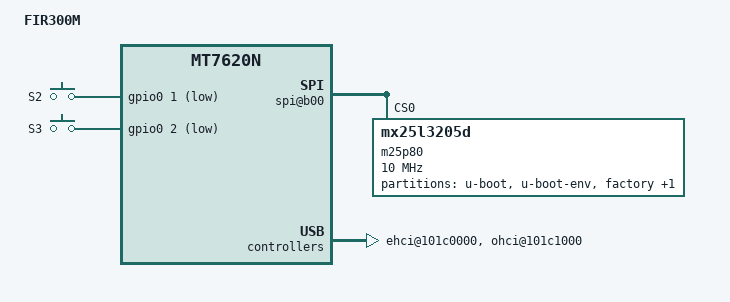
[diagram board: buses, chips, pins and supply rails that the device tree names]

/dts-v1/;

/include/ "mt7620n.dtsi"

/ {
    compatible = "fir300m", "ralink,mt7620n-soc";
    model = "FIR300M";

    palmbus@10000000 {
        spi@b00 {
            status = "okay";

            m25p80@0 {
                #address-cells = <1>;
                #size-cells = <1>;
                compatible = "mx25l3205d";
                reg = <0 0>;
                linux,modalias = "m25p80", "mx25l3205d";
                spi-max-frequency = <10000000>;

                partition@0 {
                    label = "u-boot";
                    reg = <0x0 0x30000>;
                    read-only;
                };

                partition@30000 {
                    label = "u-boot-env";
                    reg = <0x30000 0x10000>;
                    read-only;
                };

                factory: partition@40000 {
                    label = "factory";
                    reg = <0x40000 0x10000>;
                    read-only;
                };
                partition@50000 {
                    label = "firmware";
                    reg = <0x50000 0x3b0000>;
                };
            };
        };
    };

    ehci@101c0000 {
            status = "okay";
    };

    ohci@101c1000 {
            status = "okay";
    };

    wmac@10180000 {
            ralink,mtd-eeprom = <&factory 0>;
    };

    pinctrl {
        state_default: pinctrl0 {
            gpio {
                ralink,group = "i2c", "uartf";
                ralink,function = "gpio";
            };
        };
    };

    ethernet@10100000 {
        mtd-mac-address = <&factory 0x4>;
        ralink,port-map = "llllw";
    };


    gpio-keys-polled {
        compatible = "gpio-keys";
        #address-cells = <1>;
        #size-cells = <0>;
        poll-interval = <20>;

        s2 {
            label = "S2";
            gpios = <&gpio0 1 1>;
            linux,code = <0x100>;
        };
        
        s3 {
            label = "S3";
            gpios = <&gpio0 2 1>;
            linux,code = <0x101>;
        };
    };
};
